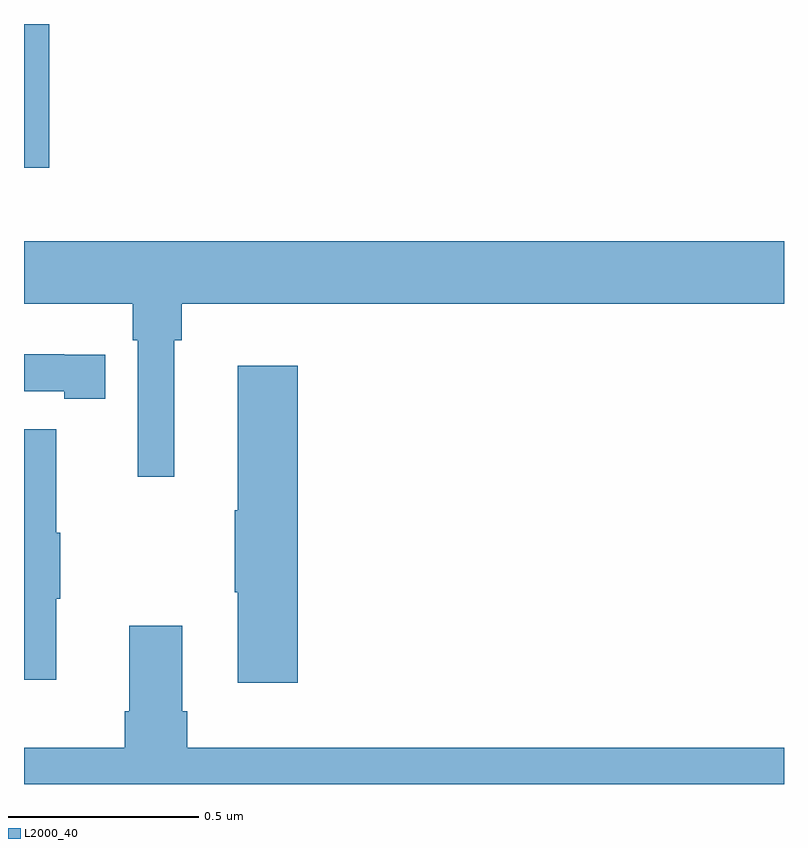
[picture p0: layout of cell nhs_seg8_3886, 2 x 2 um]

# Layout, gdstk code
import gdstk
lib = gdstk.Library(unit=1e-6, precision=1e-09)
def R(c, l, rs):  # rectangles x0, y0, x1, y1
    for r in rs: c.add(gdstk.rectangle(r[:2], r[2:], *l))
def P(c, l, *ps):  # polygons
    for p in ps: c.add(gdstk.Polygon(p, *l))
L2000_40 = (2000, 40)

nhs_seg8_3886 = lib.new_cell('nhs_seg8_3886')
R(nhs_seg8_3886, L2000_40, [(163,1119.522,163.067,1119.9)])
P(nhs_seg8_3886, L2000_40, [(163.396,1119.068),(163.415,1119.068),(163.415,1119.164),(165,1119.164),(165,1119.328),(163,1119.328),(163,1119.164),(163.286,1119.164),(163.286,1119.068),(163.299,1119.068),(163.299,1118.709),(163.396,1118.709)],
  [(163.214,1119.03),(163.106,1119.03),(163.106,1119.031),(163,1119.031),(163,1118.934),(163.106,1118.934),(163.106,1118.914),(163.214,1118.914)],
  [(163.721,1119.001),(163.562,1119.001),(163.562,1118.621),(163.555,1118.621),(163.555,1118.404),(163.562,1118.404),(163.562,1118.166),(163.721,1118.166)],
  [(163.085,1118.387),(163.096,1118.387),(163.096,1118.561),(163.085,1118.561),(163.085,1118.833),(163,1118.833),(163,1118.175),(163.085,1118.175)],
  [(165,1117.996),(163.43,1117.996),(163.43,1118.092),(163.417,1118.092),(163.417,1118.317),(163.277,1118.317),(163.277,1118.092),(163.265,1118.092),(163.265,1117.996),(163,1117.996),(163,1117.9),(165,1117.9)])

lib.write_gds('nhs_seg8_3886.gds')
